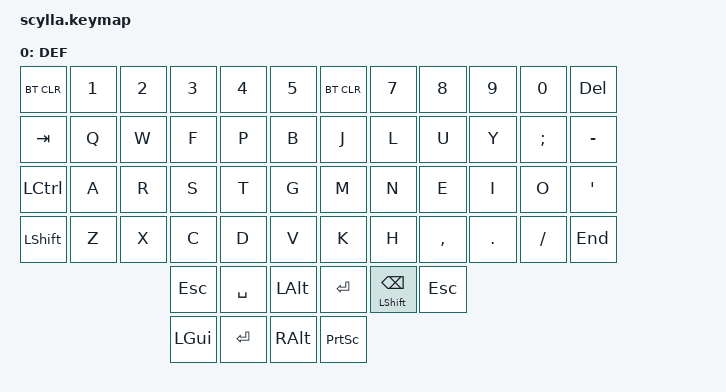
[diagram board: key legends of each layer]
#include <behaviors.dtsi>
#include <dt-bindings/zmk/keys.h>
#include <dt-bindings/zmk/bt.h>

#define DEF 0

/ {
	keymap {
		compatible = "zmk,keymap";

		DEF {
			bindings = <
			&bt BT_CLR  &kp N1  &kp N2  &kp N3    &kp N4         &kp N5      &bt BT_CLR     &kp N7          &kp N8     &kp N9   &kp N0     &kp DEL
			&kp TAB     &kp Q   &kp W   &kp F     &kp P          &kp B       &kp J          &kp L           &kp U      &kp Y    &kp SEMI   &kp MINUS
			&kp LCTRL   &kp A   &kp R   &kp S     &kp T          &kp G       &kp M          &kp N           &kp E      &kp I    &kp O      &kp APOSTROPHE
			&kp LSHIFT  &kp Z   &kp X   &kp C     &kp D          &kp V       &kp K          &kp H           &kp COMMA  &kp DOT  &kp SLASH  &kp END
										&kp ESC   &kp SPACE      &kp LALT    &kp ENTER      &mt LSHFT BSPC  &kp ESC
                                        &kp LGUI  &kp ENTER      &kp RALT    &kp PSCRN
			>;
		};
	};
};
